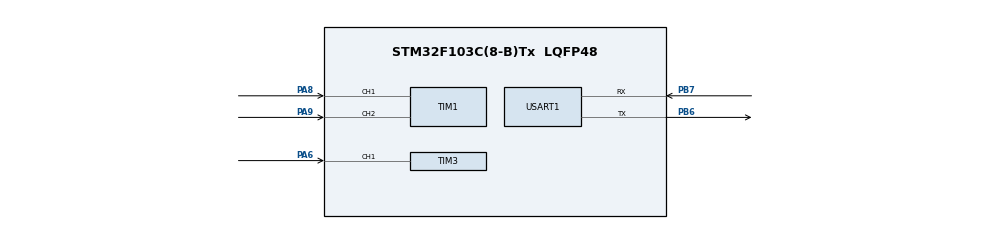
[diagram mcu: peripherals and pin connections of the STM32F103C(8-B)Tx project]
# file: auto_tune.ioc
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Mcu.Family=STM32F1
Mcu.Name=STM32F103C(8-B)Tx
Mcu.Package=LQFP48
NVIC.PriorityGroup=NVIC_PRIORITYGROUP_4
NVIC.TIM2_IRQn=true\:0\:0\:false\:false\:true\:true\:true\:true
PA6.Signal=S_TIM3_CH1
PA8.GPIO_PuPd=GPIO_PULLUP
PA8.Signal=S_TIM1_CH1
PA9.GPIO_PuPd=GPIO_PULLUP
PA9.Signal=S_TIM1_CH2
PB6.Mode=Asynchronous
PB6.Signal=USART1_TX
PB7.Mode=Asynchronous
PB7.Signal=USART1_RX
ProjectManager.HeapSize=0x200
ProjectManager.StackSize=0x400
ProjectManager.TargetToolchain=Makefile
RCC.APB1Freq_Value=8000000
RCC.APB2Freq_Value=8000000
SH.S_TIM1_CH1.0=TIM1_CH1,Encoder_Interface
SH.S_TIM1_CH2.0=TIM1_CH2,Encoder_Interface
SH.S_TIM3_CH1.0=TIM3_CH1,PWM_Input_1
TIM2.AutoReloadPreload=TIM_AUTORELOAD_PRELOAD_ENABLE
TIM2.Period=1000-1
TIM2.Prescaler=8-1
TIM3.AutoReloadPreload=TIM_AUTORELOAD_PRELOAD_ENABLE
TIM3.Period=1000-1
TIM3.Prescaler=8-1
USART1.VirtualMode=VM_ASYNC
VP_SYS_VS_ND.Mode=No_Debug
VP_TIM2_VS_ClockSourceINT.Mode=Internal
board=custom

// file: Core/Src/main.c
/* USER CODE BEGIN Header */
/**
  ******************************************************************************
  * @file           : main.c
  * @brief          : Main program body
  ******************************************************************************
  * @attention
  *
  * Copyright (c) 2025 STMicroelectronics.
  * All rights reserved.
  *
  * This software is licensed under terms that can be found in the LICENSE file
  * in the root directory of this software component.
  * If no LICENSE file comes with this software, it is provided AS-IS.
  *
  ******************************************************************************
  */
/* USER CODE END Header */
#include "main.h"

/* USER CODE BEGIN Includes */
#include "PID_AutoTune.h"
#include <stdio.h>
/* USER CODE END Includes */

TIM_HandleTypeDef htim1;
TIM_HandleTypeDef htim2;
TIM_HandleTypeDef htim3;

UART_HandleTypeDef huart1;

void SystemClock_Config(void);
static void MX_GPIO_Init(void);
static void MX_TIM1_Init(void);
static void MX_TIM2_Init(void);
static void MX_TIM3_Init(void);
static void MX_USART1_UART_Init(void);
/* USER CODE BEGIN PFP */
PIDAutotuner tuner;
float Kp, Ki, Kd;
float controlOutput = 0.0f;
/* USER CODE END PFP */

/* USER CODE BEGIN 0 */
float ReadEncoderValue(void) {
    int16_t raw = __HAL_TIM_GET_COUNTER(&htim1);
    return (float)raw;
}

void SetMotorOutput(float voltage) {
    if (voltage > 0) {
        HAL_GPIO_WritePin(GPIOA, GPIO_PIN_4, GPIO_PIN_SET);
        HAL_GPIO_WritePin(GPIOA, GPIO_PIN_5, GPIO_PIN_RESET);
    } else {
        HAL_GPIO_WritePin(GPIOA, GPIO_PIN_4, GPIO_PIN_RESET);
        HAL_GPIO_WritePin(GPIOA, GPIO_PIN_5, GPIO_PIN_SET);
        voltage = -voltage;
    }
    if (voltage > 100.0f) voltage = 100.0f;

    uint32_t pwm = (uint32_t)((voltage / 100.0f) * __HAL_TIM_GET_AUTORELOAD(&htim3));
    __HAL_TIM_SET_COMPARE(&htim3, TIM_CHANNEL_1, pwm);
}
/* USER CODE END 0 */

int main(void)
{

  /* MCU Configuration--------------------------------------------------------*/

  /* Reset of all peripherals, Initializes the Flash interface and the Systick. */
  HAL_Init();

  /* Configure the system clock */
  SystemClock_Config();

  /* Initialize all configured peripherals */
  MX_GPIO_Init();
  MX_TIM1_Init();
  MX_TIM2_Init();
  MX_TIM3_Init();
  MX_USART1_UART_Init();
  /* USER CODE BEGIN 2 */
  HAL_TIM_Encoder_Start(&htim1, TIM_CHANNEL_ALL);
  HAL_TIM_PWM_Start(&htim3, TIM_CHANNEL_1);
  PIDAutotuner_Init(&tuner, 20.0f, 80.0f, 100, -100.0f, 100.0f);
  /* USER CODE END 2 */
  __HAL_TIM_SET_COUNTER(&htim1, 0);

  /* Infinite loop */
  while (1)
  {
    float input = ReadEncoderValue();
    uint32_t now = HAL_GetTick();
    float newOutput;

    if (PIDAutotuner_Runtime(&tuner, input, now, &newOutput)) {
        PIDAutotuner_ComputeParameters(&tuner, &Kp, &Ki, &Kd);
        char msg[100];
        snprintf(msg, sizeof(msg), "Kp=%.2f Ki=%.2f Kd=%.2f\r\n", Kp, Ki, Kd);
        HAL_UART_Transmit(&huart1, (uint8_t*)msg, strlen(msg), 500);
        char log[50];
        snprintf(log, sizeof(log), "Enc=%.2f Out=%.2f\r\n ---------------------- \r\n", input, controlOutput);
        HAL_UART_Transmit(&huart1, (uint8_t*)log, strlen(log), 10);

        while(1); // Stop here to prevent further changes
    }
    controlOutput = newOutput;
    SetMotorOutput(controlOutput);
  }
}

void SystemClock_Config(void)
{
  RCC_OscInitTypeDef RCC_OscInitStruct = {0};
  RCC_ClkInitTypeDef RCC_ClkInitStruct = {0};

  /** Initializes the RCC Oscillators according to the specified parameters
  * in the RCC_OscInitTypeDef structure.
  */
  RCC_OscInitStruct.OscillatorType = RCC_OSCILLATORTYPE_HSI;
  RCC_OscInitStruct.HSIState = RCC_HSI_ON;
  RCC_OscInitStruct.HSICalibrationValue = RCC_HSICALIBRATION_DEFAULT;
  RCC_OscInitStruct.PLL.PLLState = RCC_PLL_NONE;
  if (HAL_RCC_OscConfig(&RCC_OscInitStruct) != HAL_OK)
  {
    Error_Handler();
  }

  /** Initializes the CPU, AHB and APB buses clocks
  */
  RCC_ClkInitStruct.ClockType = RCC_CLOCKTYPE_HCLK|RCC_CLOCKTYPE_SYSCLK
                              |RCC_CLOCKTYPE_PCLK1|RCC_CLOCKTYPE_PCLK2;
  RCC_ClkInitStruct.SYSCLKSource = RCC_SYSCLKSOURCE_HSI;
  RCC_ClkInitStruct.AHBCLKDivider = RCC_SYSCLK_DIV1;
  RCC_ClkInitStruct.APB1CLKDivider = RCC_HCLK_DIV1;
  RCC_ClkInitStruct.APB2CLKDivider = RCC_HCLK_DIV1;

  if (HAL_RCC_ClockConfig(&RCC_ClkInitStruct, FLASH_LATENCY_0) != HAL_OK)
  {
    Error_Handler();
  }
}

static void MX_TIM1_Init(void)
{

  TIM_Encoder_InitTypeDef sConfig = {0};
  TIM_MasterConfigTypeDef sMasterConfig = {0};

  htim1.Instance = TIM1;
  htim1.Init.Prescaler = 0;
  htim1.Init.CounterMode = TIM_COUNTERMODE_UP;
  htim1.Init.Period = 65535;
  htim1.Init.ClockDivision = TIM_CLOCKDIVISION_DIV1;
  htim1.Init.RepetitionCounter = 0;
  htim1.Init.AutoReloadPreload = TIM_AUTORELOAD_PRELOAD_DISABLE;
  sConfig.EncoderMode = TIM_ENCODERMODE_TI1;
  sConfig.IC1Polarity = TIM_ICPOLARITY_RISING;
  sConfig.IC1Selection = TIM_ICSELECTION_DIRECTTI;
  sConfig.IC1Prescaler = TIM_ICPSC_DIV1;
  sConfig.IC1Filter = 0;
  sConfig.IC2Polarity = TIM_ICPOLARITY_RISING;
  sConfig.IC2Selection = TIM_ICSELECTION_DIRECTTI;
  sConfig.IC2Prescaler = TIM_ICPSC_DIV1;
  sConfig.IC2Filter = 0;
  if (HAL_TIM_Encoder_Init(&htim1, &sConfig) != HAL_OK)
  {
    Error_Handler();
  }
  sMasterConfig.MasterOutputTrigger = TIM_TRGO_RESET;
  sMasterConfig.MasterSlaveMode = TIM_MASTERSLAVEMODE_DISABLE;
  if (HAL_TIMEx_MasterConfigSynchronization(&htim1, &sMasterConfig) != HAL_OK)
  {
    Error_Handler();
  }

}

static void MX_TIM2_Init(void)
{

  TIM_ClockConfigTypeDef sClockSourceConfig = {0};
  TIM_MasterConfigTypeDef sMasterConfig = {0};

  htim2.Instance = TIM2;
  htim2.Init.Prescaler = 8-1;
  htim2.Init.CounterMode = TIM_COUNTERMODE_UP;
  htim2.Init.Period = 1000-1;
  htim2.Init.ClockDivision = TIM_CLOCKDIVISION_DIV1;
  htim2.Init.AutoReloadPreload = TIM_AUTORELOAD_PRELOAD_ENABLE;
  if (HAL_TIM_Base_Init(&htim2) != HAL_OK)
  {
    Error_Handler();
  }
  sClockSourceConfig.ClockSource = TIM_CLOCKSOURCE_INTERNAL;
  if (HAL_TIM_ConfigClockSource(&htim2, &sClockSourceConfig) != HAL_OK)
  {
    Error_Handler();
  }
  sMasterConfig.MasterOutputTrigger = TIM_TRGO_RESET;
  sMasterConfig.MasterSlaveMode = TIM_MASTERSLAVEMODE_DISABLE;
  if (HAL_TIMEx_MasterConfigSynchronization(&htim2, &sMasterConfig) != HAL_OK)
  {
    Error_Handler();
  }

}

static void MX_TIM3_Init(void)
{

  TIM_SlaveConfigTypeDef sSlaveConfig = {0};
  TIM_IC_InitTypeDef sConfigIC = {0};
  TIM_MasterConfigTypeDef sMasterConfig = {0};

  htim3.Instance = TIM3;
  htim3.Init.Prescaler = 8-1;
  htim3.Init.CounterMode = TIM_COUNTERMODE_UP;
  htim3.Init.Period = 1000-1;
  htim3.Init.ClockDivision = TIM_CLOCKDIVISION_DIV1;
  htim3.Init.AutoReloadPreload = TIM_AUTORELOAD_PRELOAD_ENABLE;
  if (HAL_TIM_IC_Init(&htim3) != HAL_OK)
  {
    Error_Handler();
  }
  sSlaveConfig.SlaveMode = TIM_SLAVEMODE_RESET;
  sSlaveConfig.InputTrigger = TIM_TS_TI1FP1;
  sSlaveConfig.TriggerPolarity = TIM_INPUTCHANNELPOLARITY_RISING;
  sSlaveConfig.TriggerPrescaler = TIM_ICPSC_DIV1;
  sSlaveConfig.TriggerFilter = 0;
  if (HAL_TIM_SlaveConfigSynchro(&htim3, &sSlaveConfig) != HAL_OK)
  {
    Error_Handler();
  }
  sConfigIC.ICPolarity = TIM_INPUTCHANNELPOLARITY_RISING;
  sConfigIC.ICSelection = TIM_ICSELECTION_DIRECTTI;
  sConfigIC.ICPrescaler = TIM_ICPSC_DIV1;
  sConfigIC.ICFilter = 0;
  if (HAL_TIM_IC_ConfigChannel(&htim3, &sConfigIC, TIM_CHANNEL_1) != HAL_OK)
  {
    Error_Handler();
  }
  sConfigIC.ICPolarity = TIM_INPUTCHANNELPOLARITY_FALLING;
  sConfigIC.ICSelection = TIM_ICSELECTION_INDIRECTTI;
  if (HAL_TIM_IC_ConfigChannel(&htim3, &sConfigIC, TIM_CHANNEL_2) != HAL_OK)
  {
    Error_Handler();
  }
  sMasterConfig.MasterOutputTrigger = TIM_TRGO_RESET;
  sMasterConfig.MasterSlaveMode = TIM_MASTERSLAVEMODE_DISABLE;
  if (HAL_TIMEx_MasterConfigSynchronization(&htim3, &sMasterConfig) != HAL_OK)
  {
    Error_Handler();
  }

}

static void MX_USART1_UART_Init(void)
{

  huart1.Instance = USART1;
  huart1.Init.BaudRate = 115200;
  huart1.Init.WordLength = UART_WORDLENGTH_8B;
  huart1.Init.StopBits = UART_STOPBITS_1;
  huart1.Init.Parity = UART_PARITY_NONE;
  huart1.Init.Mode = UART_MODE_TX_RX;
  huart1.Init.HwFlowCtl = UART_HWCONTROL_NONE;
  huart1.Init.OverSampling = UART_OVERSAMPLING_16;
  if (HAL_UART_Init(&huart1) != HAL_OK)
  {
    Error_Handler();
  }

}

static void MX_GPIO_Init(void)
{

  /* GPIO Ports Clock Enable */
  __HAL_RCC_GPIOA_CLK_ENABLE();
  __HAL_RCC_GPIOB_CLK_ENABLE();

}

void Error_Handler(void)
{
  __disable_irq();
  while (1)
  {
  }
}
